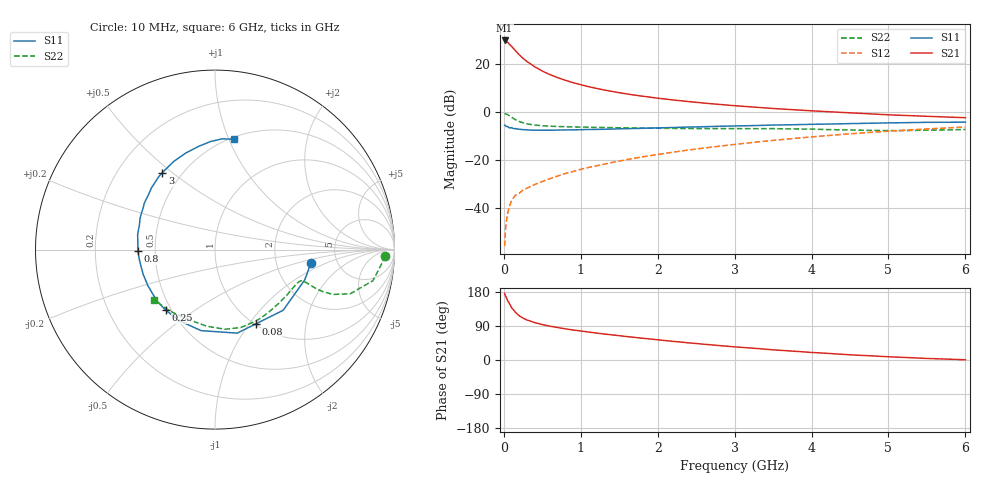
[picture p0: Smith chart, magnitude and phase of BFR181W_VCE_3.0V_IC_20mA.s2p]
! Infineon Technologies  Discrete & RF Semiconductors
! BFR181W
! VCE =  3.0 V,  IC =  20 mA
! Common Emitter S-Parameters:  Jan 2017
# GHz  S  MA  R  50
!  f  S11  S21  S12  S22
! GHz  MAG  ANG  MAG  ANG  MAG  ANG  MAG  ANG
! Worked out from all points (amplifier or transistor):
!   77 points, 10 MHz to 6 GHz, reference 50 ohm
!   highest |S21| = 30.0 dB at 10 MHz (marker M1)
!   |S21| within 3 dB of that: start of sweep to 115.5 MHz
!   unconditionally stable (mu >= 1): 435.1 MHz to 2.647 GHz
!   at 130 MHz: K = 0.50, MSG = 31.0 dB, |S12| = -35.5 dB
!   at 2.2 GHz: K = 1.07, MAG = 9.3 dB, |S12| = -16.6 dB
!   at 6 GHz: K = 0.88, MSG = 1.9 dB, |S12| = -6.1 dB
!   S11 on the Smith chart (normalised r, x): 10 MHz: 3.19, -0.67; 80 MHz: 1.01, -1.08; 250 MHz: 0.47, -0.39; 800 MHz: 0.40, -0.01; 3 GHz: 0.39, +0.46; 6 GHz: 0.52, +1.05
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0.01  0.5396 -7.9  31.76 175.7  0.0016 79.9  0.9467 -2.1
0.02  0.528 -18.5  31.14 170.1  0.0033 90.9  0.9354 -4.4
0.05  0.5085 -41.6  29.07 156.5  0.0079 73.7  0.8961 -11.2
0.08  0.4721 -61.3  25.69 146.3  0.0117 67.9  0.8325 -15.1
0.1  0.4816 -75.1  23.99 138.1  0.0142 65.7  0.7925 -18.1
0.15  0.4581 -99.7  19.48 125.8  0.0184 60.9  0.7037 -20.8
0.2  0.4431 -116.3  15.97 116.8  0.0204 60.1  0.6431 -21.3
0.25  0.4353 -129.0  13.44 110.4  0.0239 57.9  0.6037 -21.1
0.3  0.4317 -138.6  11.54 105.6  0.026 60.2  0.5752 -20.6
0.4  0.4247 -151.8  8.971 98.6  0.0309 63.4  0.543 -19.9
0.5  0.4231 -161.0  7.28 93.5  0.036 65.8  0.5246 -19.6
0.6  0.423 -168.1  6.139 89.2  0.0411 67.8  0.5135 -19.7
0.7  0.426 -174.0  5.298 85.6  0.0467 70.9  0.5066 -20.2
0.8  0.4294 -179.1  4.672 82.2  0.0528 71.4  0.5007 -20.9
1.1  0.4388 169.2  3.447 73.9  0.0706 74.3  0.4891 -24.1
1.5  0.4527 157.2  2.572 64.2  0.0959 75.9  0.4764 -30.0
2.1  0.4773 142.3  1.894 51.3  0.1394 75.4  0.4632 -41.4
3  0.5194 124.5  1.377 34.6  0.2136 70.8  0.4579 -61.1
3.1  0.5228 122.6  1.341 33.2  0.2227 70.0  0.4566 -63.2
4.1  0.5654 105.2  1.056 18.8  0.3163 61.1  0.4417 -85.5
5.1  0.605 91.2  0.875 7.7  0.4124 50.0  0.4161 -114.5
6  0.6237 80.1  0.773 0.6  0.4944 39.3  0.4392 -140.4
